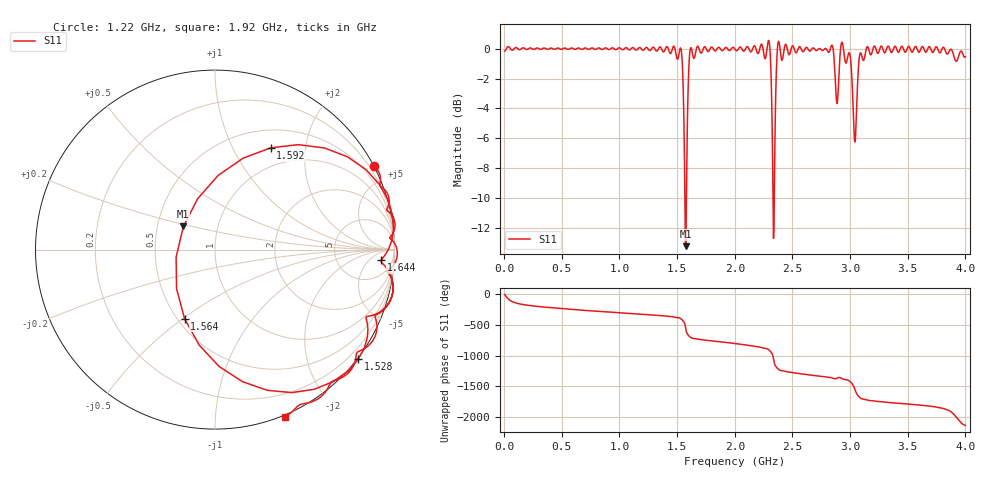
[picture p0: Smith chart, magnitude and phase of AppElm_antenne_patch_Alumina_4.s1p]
! TOUCHSTONE file generated by CST MICROWAVE STUDIO
! Date and time: Thu Jun  9 09:30:37 2022
! Project name: AppElm_antenne_patch_Alumina.cst
! Parameters = {L=30.5; W=41.8; e=0.035; h=1.6; lambda=0.190476; ls=90; w0=1.12; w1=0.33565; ws=90; y0=14; y1=10}
! Header version: 2018
! Port assignment regex: !\s*Touchstone port\s*([0-9]+)\s*=\s*(CST MWS port|CST DS port)\s*([0-9]+|Zmin|Zmax)\s*\(\"(.*)\"\)(\s*mode\s*([0-9]+))?.*
! Touchstone port assignment:
! Touchstone port 1 = CST MWS port 1 ("")
# GHz S MA R 50
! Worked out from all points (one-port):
!   1000 points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, 4 MHz to 4 GHz, reference 50 ohm
!   lowest |S11| = -13.2 dB at 1.576 GHz (marker M1), VSWR 1.56, Z = 34 + j9.23 ohm
!   |S11| at or under -10 dB: 1.568 GHz to 1.581 GHz (13.08 MHz wide, 0.831 % of centre); 2.331576 GHz to 2.342607 GHz (11.03 MHz wide, 0.472 % of centre)
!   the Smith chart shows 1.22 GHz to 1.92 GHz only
!   S11 on the Smith chart (normalised r, x): 1.22 GHz: 0.00, +4.07; 1.528 GHz: -0.02, -2.95; 1.564 GHz: 0.54, -0.51; 1.592 GHz: 0.73, +1.42; 1.644 GHz: 15, -13; 1.92 GHz: -0.02, -1.51
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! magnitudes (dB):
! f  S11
! 4 MHz  -0.2
! 504 MHz  0.0
! 1.004 GHz  0.0
! 1.22 GHz  0.0
! 1.504 GHz  -0.7
! 1.528 GHz  0.0
! 1.544 GHz  -0.9
! 1.564 GHz  -7.5
! 1.576 GHz  -13.2
! 1.592 GHz  -3.8
! 1.612 GHz  -0.1
! 1.644 GHz  -0.7
! 1.92 GHz  0.1
! 2.004 GHz  -0.1
! 2.292 GHz  0.5
! 2.336 GHz  -12.7
! 2.348 GHz  -6.4
! 2.368 GHz  -0.2
! 2.38 GHz  0.5
! 2.504 GHz  0.2
! 2.836 GHz  0.2
! 2.884 GHz  -3.6
! 2.928 GHz  0.4
! 3.004 GHz  -0.7
! 3.04 GHz  -6.2
! 3.096 GHz  -0.3
! 3.504 GHz  0.1
! 4 GHz  -0.5
